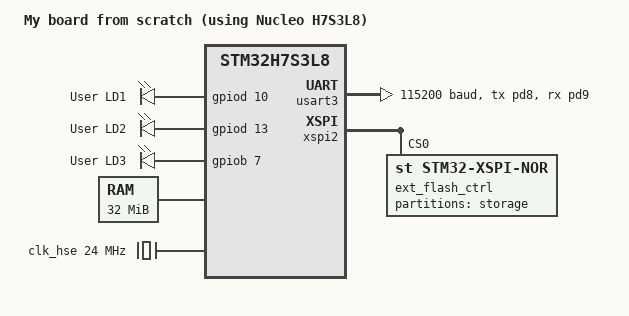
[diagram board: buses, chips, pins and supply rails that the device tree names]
/dts-v1/;

#include <st/h7rs/stm32h7s3X8.dtsi>
#include <st/h7/stm32h7s3l8hx-pinctrl.dtsi>
#include <zephyr/dt-bindings/input/input-event-codes.h>

/ {
	model = "My board from scratch (using Nucleo H7S3L8)";
	compatible = "mircea,stm32h7s3l8-nucleo";

	chosen {
		zephyr,flash-controller = &flash;
		zephyr,flash = &flash0;
		zephyr,console = &usart3;
		zephyr,shell-uart = &usart3;
		zephyr,dtcm = &dtcm;
		zephyr,sram = &sram0;
	};

	leds: leds {
		compatible = "gpio-leds";

		green_led: led_1 {
			gpios = <&gpiod 10 GPIO_ACTIVE_HIGH>;
			label = "User LD1";
		};

		yellow_led: led_2 {
			gpios = <&gpiod 13 GPIO_ACTIVE_HIGH>;
			label = "User LD2";
		};

		red_led: led_3 {
			gpios = <&gpiob 7 GPIO_ACTIVE_HIGH>;
			label = "User LD3";
		};
	};

	aliases {
		led0 = &green_led;
		led1 = &yellow_led;
		led2 = &red_led;
	};

	ext_memory: memory@70000000 {
		compatible = "zephyr,memory-region";
		reg = <0x70000000 DT_SIZE_M(32)>;
		zephyr,memory-region = "EXTMEM";
		zephyr,memory-attr = <DT_MEM_ARM(ATTR_MPU_FLASH)>;
	};
};

&clk_hse {
	clock-frequency = <DT_FREQ_M(24)>;
	status = "okay";
};

&clk_lse {
	status = "okay";
};

&pll {
	div-m = <12>;
	mul-n = <300>;
	div-p = <1>;
	div-q = <2>;
	div-r = <2>;
	div-s = <2>;
	div-t = <2>;
	clocks = <&clk_hse>;
	status = "okay";
};

/* PLL2 for clocking the xspi peripheral */
&pll2 {
	div-m = <12>;
	mul-n = <200>;
	div-p = <2>;
	div-q = <2>;
	div-r = <2>;
	div-s = <2>;
	div-t = <2>;
	clocks = <&clk_hse>;
	status = "okay";
};

&rcc {
	clocks = <&pll>;
	clock-frequency = <DT_FREQ_M(600)>;
	dcpre = <1>;
	hpre = <2>;
	ppre1 = <2>;
	ppre2 = <2>;
	ppre4 = <2>;
	ppre5 = <2>;
};

&pwr {
	power-supply = "ldo";
};

&usart3 {
	pinctrl-0 = <&usart3_tx_pd8 &usart3_rx_pd9>;
	pinctrl-names = "default";
	current-speed = <115200>;
	status = "okay";
};

&xspi2 {
	pinctrl-0 = <&xspim_p2_clk_pn6 &xspim_p2_ncs1_pn1
		     &xspim_p2_io0_pn2 &xspim_p2_io1_pn3
		     &xspim_p2_io2_pn4 &xspim_p2_io3_pn5
		     &xspim_p2_io4_pn8 &xspim_p2_io5_pn9
		     &xspim_p2_io6_pn10 &xspim_p2_io7_pn11
		     &xspim_p2_dqs0_pn0>;
	pinctrl-names = "default";

	status = "okay";

	ext_flash_ctrl: xspi-nor-flash@0 {
		compatible = "st,stm32-xspi-nor";
		reg = <0>;
		size = <DT_SIZE_M(256)>; /* 256Mbits */
		ospi-max-frequency = <DT_FREQ_M(50)>;
		spi-bus-width = <XSPI_OCTO_MODE>;
		data-rate = <XSPI_DTR_TRANSFER>;
		four-byte-opcodes;
		status = "okay";

		#address-cells = <1>;
		#size-cells = <1>;
		ranges = <0x0 0x70000000 DT_SIZE_M(32)>;

		ext_flash: mx25uw25645: xspi-nor-flash@0 {
			compatible = "soc-nv-flash";
			reg = <0x0 DT_SIZE_M(32)>;
			write-block-size = <1>;
			erase-block-size = <DT_SIZE_K(4)>;
			#address-cells = <1>;
			#size-cells = <1>;
			ranges;
		};
	};
};

&ext_flash {
	status = "okay";

	partitions {
		compatible = "fixed-partitions";
		#address-cells = <1>;
		#size-cells = <1>;

		storage_partition: partition@0 {
			label = "storage";
			reg = <0x00000000 DT_SIZE_M(32)>; /* 32MB */
		};
	};
};
